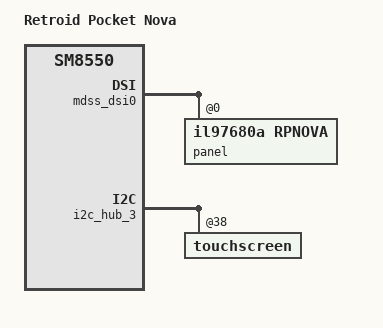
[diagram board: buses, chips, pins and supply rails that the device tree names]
// SPDX-License-Identifier: GPL-2.0
/*
 * Copyright (C) 2026-present ROCKNIX (https://github.com/ROCKNIX).
 */

/dts-v1/;

#include "qcs8550-retroidpocket-rp6.dts"

/ {
	model = "Retroid Pocket Nova";
	compatible = "retroidpocket,rpnova", "qcom,qcs8550", "qcom,sm8550";
};

&mdss_dsi0 {
	panel@0 {
		compatible = "il97680a,rpnova";
		/delete-property/ rotation;
	};
};

&i2c_hub_3 {
	touchscreen@38 {
		touchscreen-size-x = <1280>;
		touchscreen-size-y = <960>;
		/delete-property/ touchscreen-inverted-y;
	};
};

&gamepad {
	invert-x;
	invert-y;
	trigger-left-deadzone = <100>;
	trigger-right-deadzone = <100>;
};
